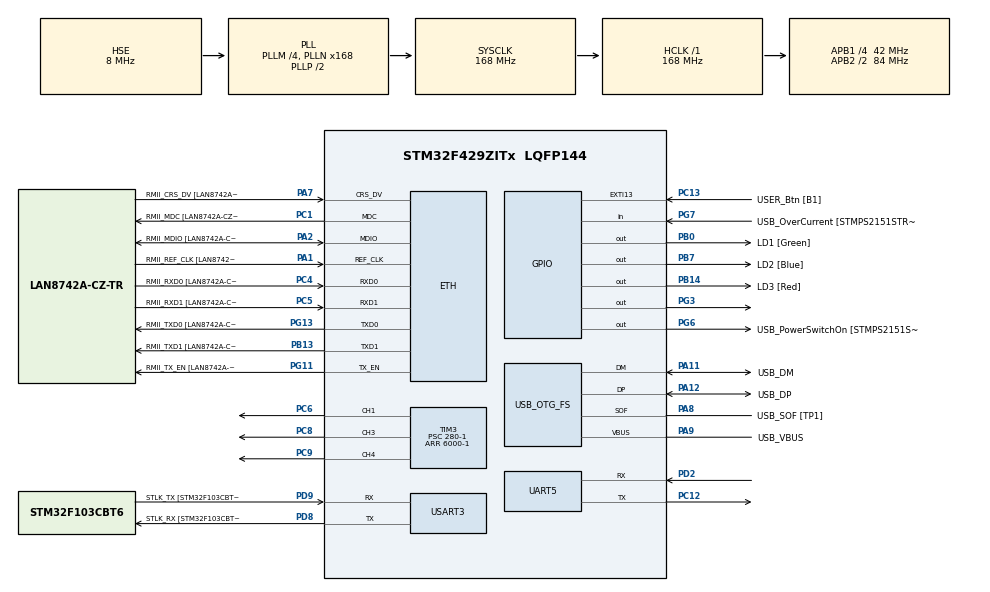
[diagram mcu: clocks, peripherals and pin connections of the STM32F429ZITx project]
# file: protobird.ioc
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ETH.MediaInterface=HAL_ETH_RMII_MODE
ETH.PHY_Name=LAN8742A_PHY_ADDRESS
ETH.PHY_Value=0
ETH.PhyAddress=0
FREERTOS.BinarySemaphores01=cooldownSem,Dynamic,NULL,Available
FREERTOS.Tasks01=uartTask,0,128,StartUartTask,Default,NULL,Dynamic,NULL,NULL
FREERTOS.configUSE_NEWLIB_REENTRANT=1
Mcu.Family=STM32F4
Mcu.Name=STM32F429ZITx
Mcu.Package=LQFP144
NVIC.PriorityGroup=NVIC_PRIORITYGROUP_4
NVIC.TIM2_IRQn=true\:5\:0\:false\:true\:true\:3\:true\:true\:true\:true
NVIC.TIM6_DAC_IRQn=true\:15\:0\:false\:false\:true\:false\:false\:true\:true
NVIC.TimeBase=TIM6_DAC_IRQn
NVIC.TimeBaseIP=TIM6
NVIC.UART5_IRQn=true\:5\:0\:false\:true\:true\:1\:true\:true\:true\:true
NVIC.USART3_IRQn=true\:5\:0\:false\:true\:true\:2\:true\:true\:true\:true
PA1.GPIO_Label=RMII_REF_CLK [LAN8742A-CZ-TR_REFCLK0]
PA1.Mode=RMII
PA1.Signal=ETH_REF_CLK
PA10.GPIO_Label=USB_ID
PA10.Signal=USB_OTG_FS_ID
PA11.GPIO_Label=USB_DM
PA11.Mode=Device_Only
PA11.Signal=USB_OTG_FS_DM
PA12.GPIO_Label=USB_DP
PA12.Mode=Device_Only
PA12.Signal=USB_OTG_FS_DP
PA13.GPIO_Label=TMS
PA13.Mode=Serial_Wire
PA13.Signal=SYS_JTMS-SWDIO
PA14.GPIO_Label=TCK
PA14.Mode=Serial_Wire
PA14.Signal=SYS_JTCK-SWCLK
PA2.GPIO_Label=RMII_MDIO [LAN8742A-CZ-TR_MDIO]
PA2.Mode=RMII
PA2.Signal=ETH_MDIO
PA7.GPIO_Label=RMII_CRS_DV [LAN8742A-CZ-TR_CRS_DV]
PA7.Mode=RMII
PA7.Signal=ETH_CRS_DV
PA8.GPIO_Label=USB_SOF [TP1]
PA8.Mode=Activate_SOF_FS
PA8.Signal=USB_OTG_FS_SOF
PA9.GPIO_Label=USB_VBUS
PA9.Mode=Activate_VBUS
PA9.Signal=USB_OTG_FS_VBUS
PB0.GPIO_Label=LD1 [Green]
PB0.Signal=GPIO_Output
PB13.GPIO_Label=RMII_TXD1 [LAN8742A-CZ-TR_TXD1]
PB13.Mode=RMII
PB13.Signal=ETH_TXD1
PB14.GPIO_Label=LD3 [Red]
PB14.Signal=GPIO_Output
PB7.GPIO_Label=LD2 [Blue]
PB7.Signal=GPIO_Output
PC1.GPIO_Label=RMII_MDC [LAN8742A-CZ-TR_MDC]
PC1.Mode=RMII
PC1.Signal=ETH_MDC
PC12.Mode=Asynchronous
PC12.Signal=UART5_TX
PC13.GPIO_Label=USER_Btn [B1]
PC13.Signal=GPXTI13
PC14/OSC32_IN.Mode=LSE-External-Oscillator
PC14/OSC32_IN.Signal=RCC_OSC32_IN
PC15/OSC32_OUT.Mode=LSE-External-Oscillator
PC15/OSC32_OUT.Signal=RCC_OSC32_OUT
PC4.GPIO_Label=RMII_RXD0 [LAN8742A-CZ-TR_RXD0]
PC4.Mode=RMII
PC4.Signal=ETH_RXD0
PC5.GPIO_Label=RMII_RXD1 [LAN8742A-CZ-TR_RXD1]
PC5.Mode=RMII
PC5.Signal=ETH_RXD1
PC6.Signal=S_TIM3_CH1
PC8.Signal=S_TIM3_CH3
PC9.Signal=S_TIM3_CH4
PD2.Mode=Asynchronous
PD2.Signal=UART5_RX
PD8.GPIO_Label=STLK_RX [STM32F103CBT6_PA3]
PD8.Mode=Asynchronous
PD8.Signal=USART3_TX
PD9.GPIO_Label=STLK_TX [STM32F103CBT6_PA2]
PD9.Mode=Asynchronous
PD9.Signal=USART3_RX
PG11.GPIO_Label=RMII_TX_EN [LAN8742A-CZ-TR_TXEN]
PG11.Mode=RMII
PG11.Signal=ETH_TX_EN
PG13.GPIO_Label=RMII_TXD0 [LAN8742A-CZ-TR_TXD0]
PG13.Mode=RMII
PG13.Signal=ETH_TXD0
PG3.GPIO_PuPd=GPIO_NOPULL
PG3.Signal=GPIO_Output
PG6.GPIO_Label=USB_PowerSwitchOn [STMPS2151STR_EN]
PG6.Signal=GPIO_Output
PG7.GPIO_Label=USB_OverCurrent [STMPS2151STR_FAULT]
PG7.Signal=GPIO_Input
PH0/OSC_IN.GPIO_Label=MCO [STM32F103CBT6_PA8]
PH0/OSC_IN.Mode=HSE-External-Clock-Source
PH0/OSC_IN.Signal=RCC_OSC_IN
PH1/OSC_OUT.Mode=HSE-External-Clock-Source
PH1/OSC_OUT.Signal=RCC_OSC_OUT
ProjectManager.HeapSize=0x200
ProjectManager.StackSize=0x400
ProjectManager.TargetToolchain=STM32CubeIDE
RCC.48MHZClocksFreq_Value=48000000
RCC.AHBFreq_Value=168000000
RCC.APB1CLKDivider=RCC_HCLK_DIV4
RCC.APB1Freq_Value=42000000
RCC.APB1TimFreq_Value=84000000
RCC.APB2CLKDivider=RCC_HCLK_DIV2
RCC.APB2Freq_Value=84000000
RCC.APB2TimCLKDivider=2
RCC.APB2TimFreq_Value=168000000
RCC.CortexFreq_Value=168000000
RCC.HCLKFreq_Value=168000000
RCC.HSE_VALUE=8000000
RCC.HSI_VALUE=16000000
RCC.PLLM=4
RCC.PLLMUL=RCC_PLL_MUL9
RCC.PLLN=168
RCC.PLLQ=7
RCC.PRESCALERUSB=RCC_USBCLKSOURCE_PLL_DIV1_5
RCC.SYSCLKFreq_VALUE=168000000
RCC.SYSCLKSource=RCC_SYSCLKSOURCE_PLLCLK
RCC.SYSCLKSourceVirtual=RCC_SYSCLKSOURCE_PLLCLK
RCC.USBFreq_Value=48000000
RCC.VCOOutputFreq_Value=336000000
SH.S_TIM3_CH1.0=TIM3_CH1,PWM Generation1 CH1
SH.S_TIM3_CH3.0=TIM3_CH3,PWM Generation3 CH3
SH.S_TIM3_CH4.0=TIM3_CH4,PWM Generation4 CH4
TIM2.Period=30000-1
TIM2.Prescaler=2800-1
TIM3.Channel-PWM\ Generation1\ CH1=TIM_CHANNEL_1
TIM3.Channel-PWM\ Generation3\ CH3=TIM_CHANNEL_3
TIM3.Channel-PWM\ Generation4\ CH4=TIM_CHANNEL_4
TIM3.Period=6000-1
TIM3.Prescaler=280-1
TIM3.Pulse-PWM\ Generation1\ CH1=450-1
TIM3.Pulse-PWM\ Generation3\ CH3=450-1
TIM3.Pulse-PWM\ Generation4\ CH4=450-1
UART5.Parity=PARITY_NONE
UART5.VirtualMode=Asynchronous
UART5.WordLength=WORDLENGTH_8B
USART3.VirtualMode=VM_ASYNC
USB_OTG_FS.VirtualMode=Device_Only
VP_FREERTOS_VS_CMSIS_V1.Mode=CMSIS_V1
VP_SYS_VS_tim6.Mode=TIM6
VP_TIM2_VS_ClockSourceINT.Mode=Internal
VP_TIM3_VS_ClockSourceINT.Mode=Internal
board=NUCLEO-F429ZI

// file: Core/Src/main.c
/* USER CODE BEGIN Header */
/**
 ******************************************************************************
 * @file           : main.c
 * @brief          : Main program body
 ******************************************************************************
 * @attention
 *
 * Copyright (c) 2024 STMicroelectronics.
 * All rights reserved.
 *
 * This software is licensed under terms that can be found in the LICENSE file
 * in the root directory of this software component.
 * If no LICENSE file comes with this software, it is provided AS-IS.
 *
 ******************************************************************************
 */
/* USER CODE END Header */
#include "main.h"
#include "cmsis_os.h"
#include "string.h"

/* USER CODE BEGIN Includes */
#include "stdio.h"
/* USER CODE END Includes */

/* USER CODE BEGIN PD */
void HAL_UART_RxCpltCallback(UART_HandleTypeDef *huart);
/* USER CODE END PD */

ETH_TxPacketConfig TxConfig;
ETH_DMADescTypeDef
    DMARxDscrTab[ETH_RX_DESC_CNT]; /* Ethernet Rx DMA Descriptors */
ETH_DMADescTypeDef
    DMATxDscrTab[ETH_TX_DESC_CNT]; /* Ethernet Tx DMA Descriptors */

ETH_HandleTypeDef heth;

TIM_HandleTypeDef htim2;
TIM_HandleTypeDef htim3;

UART_HandleTypeDef huart5;
UART_HandleTypeDef huart3;

PCD_HandleTypeDef hpcd_USB_OTG_FS;

osThreadId uartTaskHandle;
osSemaphoreId cooldownSemHandle;

void SystemClock_Config(void);
static void MX_GPIO_Init(void);
static void MX_ETH_Init(void);
static void MX_USART3_UART_Init(void);
static void MX_USB_OTG_FS_PCD_Init(void);
static void MX_UART5_Init(void);
static void MX_TIM3_Init(void);
static void MX_TIM2_Init(void);
void StartUartTask(void const *argument);

static void MX_NVIC_Init(void);

/* USER CODE BEGIN 0 */
int8_t rxbuf;
int8_t uartRxData[4];
UART_HandleTypeDef *huartn = &huart5;
const uint8_t RES_ERR = 0, RES_DONE = 1;
int __io_putchar(int ch) {
  HAL_UART_Transmit(huartn, (uint8_t *)&ch, 1, 0xFFFF);
  return ch;
}
int __io_getchar() {
  uint8_t ch = 0;
  /* Clear the Overrun flag just before receiving the first character */
  __HAL_UART_CLEAR_OREFLAG(huartn);
  /* Wait for reception of a character on the USART RX line and echo this
   * character on console */
  HAL_UART_Receive(huartn, (uint8_t *)&ch, 1, HAL_MAX_DELAY);
  HAL_UART_Transmit(huartn, (uint8_t *)&ch, 1, HAL_MAX_DELAY);
  return ch;
}

/* USER CODE END 0 */

int main(void) {

  /* MCU Configuration--------------------------------------------------------*/

  /* Reset of all peripherals, Initializes the Flash interface and the Systick.
   */
  HAL_Init();

  /* Configure the system clock */
  SystemClock_Config();

  /* Initialize all configured peripherals */
  MX_GPIO_Init();
  MX_ETH_Init();
  MX_USART3_UART_Init();
  MX_USB_OTG_FS_PCD_Init();
  MX_UART5_Init();
  MX_TIM3_Init();
  MX_TIM2_Init();

  /* Initialize interrupts */
  MX_NVIC_Init();
  /* USER CODE BEGIN 2 */
  // HAL_UART_Receive_IT(huartn, (uint8_t *)&dir, 1);
  HAL_TIM_PWM_Start(&htim3, TIM_CHANNEL_1);
  HAL_TIM_PWM_Start(&htim3, TIM_CHANNEL_3);
  HAL_TIM_PWM_Start(&htim3, TIM_CHANNEL_4);
  HAL_UART_Receive_IT(huartn, &rxbuf, 1);
  /* USER CODE END 2 */

  /* Create the semaphores(s) */
  /* definition and creation of cooldownSem */
  osSemaphoreDef(cooldownSem);
  cooldownSemHandle = osSemaphoreCreate(osSemaphore(cooldownSem), 1);

  /* Create the thread(s) */
  /* definition and creation of uartTask */
  osThreadDef(uartTask, StartUartTask, osPriorityNormal, 0, 128);
  uartTaskHandle = osThreadCreate(osThread(uartTask), NULL);

  /* Start scheduler */
  osKernelStart();

  /* We should never get here as control is now taken by the scheduler */

  /* Infinite loop */
  while (1) {

  }
}

void SystemClock_Config(void) {
  RCC_OscInitTypeDef RCC_OscInitStruct = {0};
  RCC_ClkInitTypeDef RCC_ClkInitStruct = {0};

  /** Configure the main internal regulator output voltage
   */
  __HAL_RCC_PWR_CLK_ENABLE();
  __HAL_PWR_VOLTAGESCALING_CONFIG(PWR_REGULATOR_VOLTAGE_SCALE1);

  /** Initializes the RCC Oscillators according to the specified parameters
   * in the RCC_OscInitTypeDef structure.
   */
  RCC_OscInitStruct.OscillatorType = RCC_OSCILLATORTYPE_HSE;
  RCC_OscInitStruct.HSEState = RCC_HSE_BYPASS;
  RCC_OscInitStruct.PLL.PLLState = RCC_PLL_ON;
  RCC_OscInitStruct.PLL.PLLSource = RCC_PLLSOURCE_HSE;
  RCC_OscInitStruct.PLL.PLLM = 4;
  RCC_OscInitStruct.PLL.PLLN = 168;
  RCC_OscInitStruct.PLL.PLLP = RCC_PLLP_DIV2;
  RCC_OscInitStruct.PLL.PLLQ = 7;
  if (HAL_RCC_OscConfig(&RCC_OscInitStruct) != HAL_OK) {
    Error_Handler();
  }

  /** Initializes the CPU, AHB and APB buses clocks
   */
  RCC_ClkInitStruct.ClockType = RCC_CLOCKTYPE_HCLK | RCC_CLOCKTYPE_SYSCLK |
                                RCC_CLOCKTYPE_PCLK1 | RCC_CLOCKTYPE_PCLK2;
  RCC_ClkInitStruct.SYSCLKSource = RCC_SYSCLKSOURCE_PLLCLK;
  RCC_ClkInitStruct.AHBCLKDivider = RCC_SYSCLK_DIV1;
  RCC_ClkInitStruct.APB1CLKDivider = RCC_HCLK_DIV4;
  RCC_ClkInitStruct.APB2CLKDivider = RCC_HCLK_DIV2;

  if (HAL_RCC_ClockConfig(&RCC_ClkInitStruct, FLASH_LATENCY_5) != HAL_OK) {
    Error_Handler();
  }
}

/**
 * @brief NVIC Configuration.
 * @retval None
 */
static void MX_NVIC_Init(void) {
  /* UART5_IRQn interrupt configuration */
  HAL_NVIC_SetPriority(UART5_IRQn, 5, 0);
  HAL_NVIC_EnableIRQ(UART5_IRQn);
  /* USART3_IRQn interrupt configuration */
  HAL_NVIC_SetPriority(USART3_IRQn, 5, 0);
  HAL_NVIC_EnableIRQ(USART3_IRQn);
  /* TIM2_IRQn interrupt configuration */
  HAL_NVIC_SetPriority(TIM2_IRQn, 5, 0);
  HAL_NVIC_EnableIRQ(TIM2_IRQn);
}

static void MX_ETH_Init(void) {

  static uint8_t MACAddr[6];

  heth.Instance = ETH;
  MACAddr[0] = 0x00;
  MACAddr[1] = 0x80;
  MACAddr[2] = 0xE1;
  MACAddr[3] = 0x00;
  MACAddr[4] = 0x00;
  MACAddr[5] = 0x00;
  heth.Init.MACAddr = &MACAddr[0];
  heth.Init.MediaInterface = HAL_ETH_RMII_MODE;
  heth.Init.TxDesc = DMATxDscrTab;
  heth.Init.RxDesc = DMARxDscrTab;
  heth.Init.RxBuffLen = 1524;

  if (HAL_ETH_Init(&heth) != HAL_OK) {
    Error_Handler();
  }

  memset(&TxConfig, 0, sizeof(ETH_TxPacketConfig));
  TxConfig.Attributes =
      ETH_TX_PACKETS_FEATURES_CSUM | ETH_TX_PACKETS_FEATURES_CRCPAD;
  TxConfig.ChecksumCtrl = ETH_CHECKSUM_IPHDR_PAYLOAD_INSERT_PHDR_CALC;
  TxConfig.CRCPadCtrl = ETH_CRC_PAD_INSERT;
}

static void MX_TIM2_Init(void) {

  TIM_ClockConfigTypeDef sClockSourceConfig = {0};
  TIM_MasterConfigTypeDef sMasterConfig = {0};

  htim2.Instance = TIM2;
  htim2.Init.Prescaler = 2800 - 1;
  htim2.Init.CounterMode = TIM_COUNTERMODE_UP;
  htim2.Init.Period = 30000 - 1;
  htim2.Init.ClockDivision = TIM_CLOCKDIVISION_DIV1;
  htim2.Init.AutoReloadPreload = TIM_AUTORELOAD_PRELOAD_DISABLE;
  if (HAL_TIM_Base_Init(&htim2) != HAL_OK) {
    Error_Handler();
  }
  sClockSourceConfig.ClockSource = TIM_CLOCKSOURCE_INTERNAL;
  if (HAL_TIM_ConfigClockSource(&htim2, &sClockSourceConfig) != HAL_OK) {
    Error_Handler();
  }
  sMasterConfig.MasterOutputTrigger = TIM_TRGO_RESET;
  sMasterConfig.MasterSlaveMode = TIM_MASTERSLAVEMODE_DISABLE;
  if (HAL_TIMEx_MasterConfigSynchronization(&htim2, &sMasterConfig) != HAL_OK) {
    Error_Handler();
  }
}

static void MX_TIM3_Init(void) {

  TIM_ClockConfigTypeDef sClockSourceConfig = {0};
  TIM_MasterConfigTypeDef sMasterConfig = {0};
  TIM_OC_InitTypeDef sConfigOC = {0};

  htim3.Instance = TIM3;
  htim3.Init.Prescaler = 280 - 1;
  htim3.Init.CounterMode = TIM_COUNTERMODE_UP;
  htim3.Init.Period = 6000 - 1;
  htim3.Init.ClockDivision = TIM_CLOCKDIVISION_DIV1;
  htim3.Init.AutoReloadPreload = TIM_AUTORELOAD_PRELOAD_DISABLE;
  if (HAL_TIM_Base_Init(&htim3) != HAL_OK) {
    Error_Handler();
  }
  sClockSourceConfig.ClockSource = TIM_CLOCKSOURCE_INTERNAL;
  if (HAL_TIM_ConfigClockSource(&htim3, &sClockSourceConfig) != HAL_OK) {
    Error_Handler();
  }
  if (HAL_TIM_PWM_Init(&htim3) != HAL_OK) {
    Error_Handler();
  }
  sMasterConfig.MasterOutputTrigger = TIM_TRGO_RESET;
  sMasterConfig.MasterSlaveMode = TIM_MASTERSLAVEMODE_DISABLE;
  if (HAL_TIMEx_MasterConfigSynchronization(&htim3, &sMasterConfig) != HAL_OK) {
    Error_Handler();
  }
  sConfigOC.OCMode = TIM_OCMODE_PWM1;
  sConfigOC.Pulse = 450 - 1;
  sConfigOC.OCPolarity = TIM_OCPOLARITY_HIGH;
  sConfigOC.OCFastMode = TIM_OCFAST_DISABLE;
  if (HAL_TIM_PWM_ConfigChannel(&htim3, &sConfigOC, TIM_CHANNEL_1) != HAL_OK) {
    Error_Handler();
  }
  if (HAL_TIM_PWM_ConfigChannel(&htim3, &sConfigOC, TIM_CHANNEL_3) != HAL_OK) {
    Error_Handler();
  }
  if (HAL_TIM_PWM_ConfigChannel(&htim3, &sConfigOC, TIM_CHANNEL_4) != HAL_OK) {
    Error_Handler();
  }
  HAL_TIM_MspPostInit(&htim3);
}

static void MX_UART5_Init(void) {

  huart5.Instance = UART5;
  huart5.Init.BaudRate = 115200;
  huart5.Init.WordLength = UART_WORDLENGTH_8B;
  huart5.Init.StopBits = UART_STOPBITS_1;
  huart5.Init.Parity = UART_PARITY_NONE;
  huart5.Init.Mode = UART_MODE_TX_RX;
  huart5.Init.HwFlowCtl = UART_HWCONTROL_NONE;
  huart5.Init.OverSampling = UART_OVERSAMPLING_16;
  if (HAL_UART_Init(&huart5) != HAL_OK) {
    Error_Handler();
  }
}

static void MX_USART3_UART_Init(void) {

  huart3.Instance = USART3;
  huart3.Init.BaudRate = 115200;
  huart3.Init.WordLength = UART_WORDLENGTH_8B;
  huart3.Init.StopBits = UART_STOPBITS_1;
  huart3.Init.Parity = UART_PARITY_NONE;
  huart3.Init.Mode = UART_MODE_TX_RX;
  huart3.Init.HwFlowCtl = UART_HWCONTROL_NONE;
  huart3.Init.OverSampling = UART_OVERSAMPLING_16;
  if (HAL_UART_Init(&huart3) != HAL_OK) {
    Error_Handler();
  }
}

static void MX_USB_OTG_FS_PCD_Init(void) {

  hpcd_USB_OTG_FS.Instance = USB_OTG_FS;
  hpcd_USB_OTG_FS.Init.dev_endpoints = 4;
  hpcd_USB_OTG_FS.Init.speed = PCD_SPEED_FULL;
  hpcd_USB_OTG_FS.Init.dma_enable = DISABLE;
  hpcd_USB_OTG_FS.Init.phy_itface = PCD_PHY_EMBEDDED;
  hpcd_USB_OTG_FS.Init.Sof_enable = ENABLE;
  hpcd_USB_OTG_FS.Init.low_power_enable = DISABLE;
  hpcd_USB_OTG_FS.Init.lpm_enable = DISABLE;
  hpcd_USB_OTG_FS.Init.vbus_sensing_enable = ENABLE;
  hpcd_USB_OTG_FS.Init.use_dedicated_ep1 = DISABLE;
  if (HAL_PCD_Init(&hpcd_USB_OTG_FS) != HAL_OK) {
    Error_Handler();
  }
}

static void MX_GPIO_Init(void) {
  GPIO_InitTypeDef GPIO_InitStruct = {0};

  /* GPIO Ports Clock Enable */
  __HAL_RCC_GPIOC_CLK_ENABLE();
  __HAL_RCC_GPIOH_CLK_ENABLE();
  __HAL_RCC_GPIOA_CLK_ENABLE();
  __HAL_RCC_GPIOB_CLK_ENABLE();
  __HAL_RCC_GPIOD_CLK_ENABLE();
  __HAL_RCC_GPIOG_CLK_ENABLE();

  /*Configure GPIO pin Output Level */
  HAL_GPIO_WritePin(GPIOB, LD1_Pin | LD3_Pin | LD2_Pin, GPIO_PIN_RESET);

  /*Configure GPIO pin Output Level */
  HAL_GPIO_WritePin(GPIOG, GPIO_PIN_3 | USB_PowerSwitchOn_Pin, GPIO_PIN_RESET);

  /*Configure GPIO pin : USER_Btn_Pin */
  GPIO_InitStruct.Pin = USER_Btn_Pin;
  GPIO_InitStruct.Mode = GPIO_MODE_IT_RISING;
  GPIO_InitStruct.Pull = GPIO_NOPULL;
  HAL_GPIO_Init(USER_Btn_GPIO_Port, &GPIO_InitStruct);

  /*Configure GPIO pins : LD1_Pin LD3_Pin LD2_Pin */
  GPIO_InitStruct.Pin = LD1_Pin | LD3_Pin | LD2_Pin;
  GPIO_InitStruct.Mode = GPIO_MODE_OUTPUT_PP;
  GPIO_InitStruct.Pull = GPIO_NOPULL;
  GPIO_InitStruct.Speed = GPIO_SPEED_FREQ_LOW;
  HAL_GPIO_Init(GPIOB, &GPIO_InitStruct);

  /*Configure GPIO pins : PG3 USB_PowerSwitchOn_Pin */
  GPIO_InitStruct.Pin = GPIO_PIN_3 | USB_PowerSwitchOn_Pin;
  GPIO_InitStruct.Mode = GPIO_MODE_OUTPUT_PP;
  GPIO_InitStruct.Pull = GPIO_NOPULL;
  GPIO_InitStruct.Speed = GPIO_SPEED_FREQ_LOW;
  HAL_GPIO_Init(GPIOG, &GPIO_InitStruct);

  /*Configure GPIO pin : USB_OverCurrent_Pin */
  GPIO_InitStruct.Pin = USB_OverCurrent_Pin;
  GPIO_InitStruct.Mode = GPIO_MODE_INPUT;
  GPIO_InitStruct.Pull = GPIO_NOPULL;
  HAL_GPIO_Init(USB_OverCurrent_GPIO_Port, &GPIO_InitStruct);

}

/* USER CODE BEGIN 4 */
// setmotor
#define MOVEOP 0
#define TRIGOP 1
#define ENDOFDATA 2
#define PHIMAX 750
#define PHIMIN 150
#define THTMAX 750
#define THTMIN 450
const int PHICENTER = 450 - 1, THTCENTER = 740 - 1;
volatile int phipulse = PHICENTER, thtpulse = THTCENTER;
volatile int cooldown = 0, received = 0;
// volatile float prevphierr = 0.0, prevthterr = 0.0;
// volatile float integphi = 0.0, integtht = 0.0;
// volatile float diffphi = 0.0, difftht = 0.0;
// const float dt = 1.0 / 30;
const float kpx = .13, kix = .01, kdx = .05;
const float kpy = .13, kiy = .01, kdy = .05;
const int BOUNDCOUNT = 30;
volatile int bounderr = BOUNDCOUNT;
const int DFLTPULSE = 210, TRIGPULSE = 680;
void SetMotor(int8_t nowphierr, int8_t nowthterr) {
  // pid control
  // integphi += nowphierr;
  // integtht += nowthterr;
  // diffphi = (nowphierr - prevphierr);
  // difftht = (nowthterr - prevthterr);
  // phipulse += kpx * nowphierr + kix * integphi + kpx * diffphi;
  // thtpulse += kpy * nowthterr + kiy * integtht + kpy * difftht;
  phipulse += kpx * nowphierr;
  thtpulse += kpy * nowthterr;

  // check the bound
  // phipulse = phipulse > PHIMIN ? phipulse : PHIMIN;
  // phipulse = phipulse < PHIMAX ? phipulse : PHIMAX;
  // thtpulse = thtpulse > THTMIN ? thtpulse : THTMIN;
  // thtpulse = thtpulse < THTMAX ? thtpulse : THTMAX;
  // if (phipulse == PHIMIN || phipulse == PHIMAX || thtpulse == THTMIN ||
  //     thtpulse == THTMAX)
  //   bounderr--;
  // if (!bounderr) {
  //   phipulse = PHICENTER, thtpulse = THTCENTER;
  //   HAL_GPIO_WritePin(GPIOB, GPIO_PIN_0, GPIO_PIN_RESET);
  //   HAL_UART_Transmit(huartn, &RES_ERR, 1, HAL_MAX_DELAY);
  //   bounderr = BOUNDCOUNT;
  //   phipulse = PHICENTER, thtpulse = THTCENTER;
  //   // prevphierr = 0.0, prevthterr = 0.0;
  //   // integphi = 0.0, integtht = 0.0;
  //   // diffphi = 0.0, difftht = 0.0;
  // }

  // set duty cycle
  TIM3->CCR3 = thtpulse;
  TIM3->CCR4 = phipulse;
  // prevphierr = nowphierr, prevthterr = nowthterr;
}

// DoTrigger
void DoTrigger() {
  TIM3->CCR1 = TRIGPULSE;
  osDelay(500);
  TIM3->CCR1 = DFLTPULSE;
  HAL_GPIO_WritePin(GPIOB, GPIO_PIN_0, GPIO_PIN_RESET);
  osDelay(500);
  TIM3->CCR1 = TRIGPULSE;
  osDelay(500);
  TIM3->CCR1 = DFLTPULSE;
  osDelay(500);
  bounderr = BOUNDCOUNT;
  TIM3->CCR3 = THTCENTER, TIM3->CCR4 = PHICENTER;
  // prevphierr = 0.0, prevthterr = 0.0;
  // nowphierr = 0.0, nowthterr = 0.0;
  // integphi = 0.0, integtht = 0.0;
  // diffphi = 0.0, difftht = 0.0;
  HAL_GPIO_WritePin(GPIOB, GPIO_PIN_0, GPIO_PIN_RESET);
  HAL_UART_Transmit(huartn, &RES_DONE, 1, HAL_MAX_DELAY);
  cooldown = 1;
}

void HAL_UART_RxCpltCallback(UART_HandleTypeDef *huart) {
  uartRxData[0] = uartRxData[1];
  uartRxData[1] = uartRxData[2];
  uartRxData[2] = uartRxData[3];
  uartRxData[3] = rxbuf;
  if (rxbuf == ENDOFDATA)
    received = 1;
  HAL_UART_Receive_IT(huartn, &rxbuf, 1);
}
/* USER CODE END 4 */

void StartUartTask(void const *argument) {
  /* USER CODE BEGIN 5 */
  TIM3->CCR3 = THTCENTER;
  TIM3->CCR4 = PHICENTER;
  TIM3->CCR1 = DFLTPULSE;
  /* Infinite loop */
  for (;;) {
    HAL_GPIO_WritePin(GPIOB, LD2_Pin, GPIO_PIN_SET);
    while (!received) {
      osDelay(1);
    }
    HAL_GPIO_WritePin(GPIOB, LD2_Pin, GPIO_PIN_RESET);
    received = 0;
    if (uartRxData[0] == MOVEOP) {
      HAL_GPIO_WritePin(GPIOB, GPIO_PIN_0, GPIO_PIN_SET);
      // SetMotor(-uartRxData[1], uartRxData[2]);
      phipulse += kpx * (-uartRxData[1]);
      thtpulse += kpy * uartRxData[2];
      TIM3->CCR3 = thtpulse;
      TIM3->CCR4 = phipulse;
    } else if (uartRxData[0] == TRIGOP) {
      DoTrigger();
      HAL_GPIO_WritePin(GPIOB, GPIO_PIN_0, GPIO_PIN_RESET);
    }
    HAL_GPIO_WritePin(GPIOB, LD3_Pin, GPIO_PIN_SET);
    HAL_Delay(1000);
    HAL_GPIO_WritePin(GPIOB, LD3_Pin, GPIO_PIN_RESET);
  }
  /* USER CODE END 5 */
}

void HAL_TIM_PeriodElapsedCallback(TIM_HandleTypeDef *htim) {
  /* USER CODE BEGIN Callback 0 */
  if (htim->Instance == TIM2) {
    osSemaphoreWait(cooldownSemHandle, osWaitForever);
    cooldown = 0;
    osSemaphoreRelease(cooldownSemHandle);
  }
  if (htim->Instance == TIM6) {
    HAL_IncTick();
  }
}

void Error_Handler(void) {
  __disable_irq();
  while (1) {
  }
}

#ifdef USE_FULL_ASSERT
/**
 * @brief  Reports the name of the source file and the source line number
 *         where the assert_param error has occurred.
 * @param  file: pointer to the source file name
 * @param  line: assert_param error line source number
 * @retval None
 */
void assert_failed(uint8_t *file, uint32_t line) {
  /* USER CODE BEGIN 6 */
  /* User can add his own implementation to report the file name and line
     number, ex: printf("Wrong parameters value: file %s on line %d\r\n", file,
     line) */
  /* USER CODE END 6 */
}
#endif /* USE_FULL_ASSERT */
